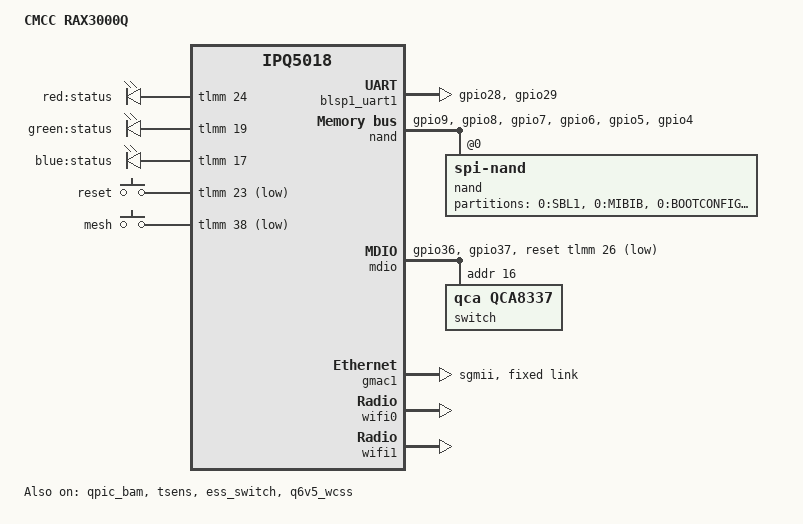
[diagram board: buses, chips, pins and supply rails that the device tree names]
// SPDX-License-Identifier: GPL-2.0-or-later OR MIT

/dts-v1/;

#include "ipq5018.dtsi"
#include <dt-bindings/gpio/gpio.h>
#include <dt-bindings/input/input.h>

/ {
	model = "CMCC RAX3000Q";
	compatible = "cmcc,rax3000q", "qcom,ipq5018";

	aliases {
		serial0 = &blsp1_uart1;
		led-boot = &led_status_green;
		led-failsafe = &led_status_red;
		led-running = &led_status_green;
		led-upgrade = &led_status_blue;
	};

	chosen {
		stdout-path = "serial0:115200n8";
		bootargs-append = " coherent_pool=2M";
	};

	// 内存保留区域，用于WiFi固件
	reserved-memory {
		// 为Q6 DSP预留内存
		q6_mem_regions: q6_mem_regions@4b000000 {
			no-map;
			reg = <0x0 0x4b000000 0x0 0x3b00000>;
		};
	};

	// LED 配置
	leds {
		compatible = "gpio-leds";

		led_status_red: status_red {
			label = "red:status";
			gpios = <&tlmm 24 GPIO_ACTIVE_HIGH>;
		};

		led_status_green: status_green {
			label = "green:status";
			gpios = <&tlmm 19 GPIO_ACTIVE_HIGH>;
		};

		led_status_blue: status_blue {
			label = "blue:status";
			gpios = <&tlmm 17 GPIO_ACTIVE_HIGH>;
		};
	};

	// 按键配置
	keys {
		compatible = "gpio-keys";

		reset {
			label = "reset";
			gpios = <&tlmm 23 GPIO_ACTIVE_LOW>;
			linux,code = <KEY_RESTART>;
		};

		mesh {
			label = "mesh";
			gpios = <&tlmm 38 GPIO_ACTIVE_LOW>;
			linux,code = <KEY_WPS_BUTTON>;
		};
	};
};

&blsp1_uart1 {
	pinctrl-0 = <&blsp_uart0_pins>;
	pinctrl-names = "default";
	status = "okay";
};

&qpic_bam {
	status = "okay";
};

// NAND 闪存控制器配置
&nand {
	pinctrl-0 = <&qspi_nand_pins>;
	pinctrl-names = "default";
	status = "okay";

	nand@0 {
		reg = <0>;
		compatible = "spi-nand";
		#address-cells = <1>;
		#size-cells = <1>;

		/*
		 * 此处使用OpenWrt的闪存分区布局。
		 * 具体的mtd分区定义通常在target/linux/ipq50xx/image/ipq5018.mk
		 * 或通过DTS中的分区节点定义。
		 * 请根据实际使用的固件布局调整。
		 */
		partitions {
			compatible = "fixed-partitions";
			#address-cells = <1>;
			#size-cells = <1>;

			partition@0 {
				label = "0:SBL1";
				reg = <0x0000000 0x80000>;
				read-only;
			};

			partition@80000 {
				label = "0:MIBIB";
				reg = <0x80000 0x80000>;
				read-only;
			};

			partition@100000 {
				label = "0:BOOTCONFIG";
				reg = <0x100000 0x40000>;
				read-only;
			};

			partition@140000 {
				label = "0:BOOTCONFIG1";
				reg = <0x140000 0x40000>;
				read-only;
			};

			partition@180000 {
				label = "0:QSEE";
				reg = <0x180000 0x100000>;
				read-only;
			};

			partition@280000 {
				label = "0:QSEE_1";
				reg = <0x280000 0x100000>;
				read-only;
			};

			partition@380000 {
				label = "0:DEVCFG";
				reg = <0x380000 0x40000>;
				read-only;
			};

			partition@3c0000 {
				label = "0:DEVCFG_1";
				reg = <0x3c0000 0x40000>;
				read-only;
			};

			partition@400000 {
				label = "0:CDT";
				reg = <0x400000 0x40000>;
				read-only;
			};

			partition@440000 {
				label = "0:CDT_1";
				reg = <0x440000 0x40000>;
				read-only;
			};

			partition@480000 {
				label = "0:APPSBLENV";
				reg = <0x480000 0x80000>;
				read-only;
			};

			partition@500000 {
				label = "0:APPSBL";
				reg = <0x500000 0x140000>;
				read-only;
			};

			partition@640000 {
				label = "0:APPSBL_1";
				reg = <0x640000 0x140000>;
				read-only;
			};

			partition@780000 {
				label = "0:ART";
				reg = <0x780000 0x100000>;
				read-only;
			};

			partition@880000 {
				label = "0:TRAINING";
				reg = <0x880000 0x80000>;
				read-only;
			};

			/*
			 * 固件分区 (包含kernel, rootfs等)
			 * 大小和位置可能因固件而异，请根据实际情况调整
			 */
			partition@900000 {
				label = "firmware";
				reg = <0x900000 0x6000000>;
			};
		};
	};
};

// 温度传感器
&tsens {
	status = "okay";
};

// 以太网 MDIO 总线
&mdio {
	status = "okay";
	pinctrl-0 = <&mdio1_pins>;
	pinctrl-names = "default";
	reset-gpios = <&tlmm 26 GPIO_ACTIVE_LOW>;

	// 外部 QCA8337 交换机
	switch@10 {
		compatible = "qca,qca8337";
		reg = <0x10>;
	};
};

// ESS 交换机实例 (用于内部MAC配置)
&ess_switch {
	status = "okay";

	switch_mac_mode = <0xf>; // PORT_WRAPPER_SGMII_CHANNEL0

	// CPU端口连接到内部MAC
	port@0 {
		status = "okay";
		label = "cpu";
		reg = <0>;
		phy-mode = "sgmii";

		fixed-link {
			speed = <1000>;
			full-duplex;
		};
	};
};

// GMAC1 (用于连接外部交换机)
&gmac1 {
	status = "okay";
	phy-mode = "sgmii";

	fixed-link {
		speed = <1000>;
		full-duplex;
	};
};

// 无线配置 (ath11k驱动)
&wifi0 {
	status = "okay";
	qcom,board_id = <0x24>;
};

&wifi1 {
	status = "okay";
	qcom,board_id = <0x60>;
};

// Q6 DSP 配置 (用于WiFi固件)
&q6v5_wcss {
	status = "okay";
	memory-region = <&q6_mem_regions>;
};

// 引脚配置
&tlmm {
	blsp_uart0_pins: blsp_uart0_pins {
		mux {
			pins = "gpio28", "gpio29";
			function = "blsp0_uart1";
			drive-strength = <8>;
			bias-disable;
		};
	};

	qspi_nand_pins: qspi_nand_pins {
		mux {
			pins = "gpio9", "gpio8", "gpio7", "gpio6", "gpio5", "gpio4";
			function = "qspi";
			drive-strength = <8>;
			bias-disable;
		};
	};

	mdio1_pins: mdio1_pins {
		mux {
			pins = "gpio36", "gpio37";
			function = "mdio";
			drive-strength = <8>;
			bias-pull-up;
		};
	};
};
